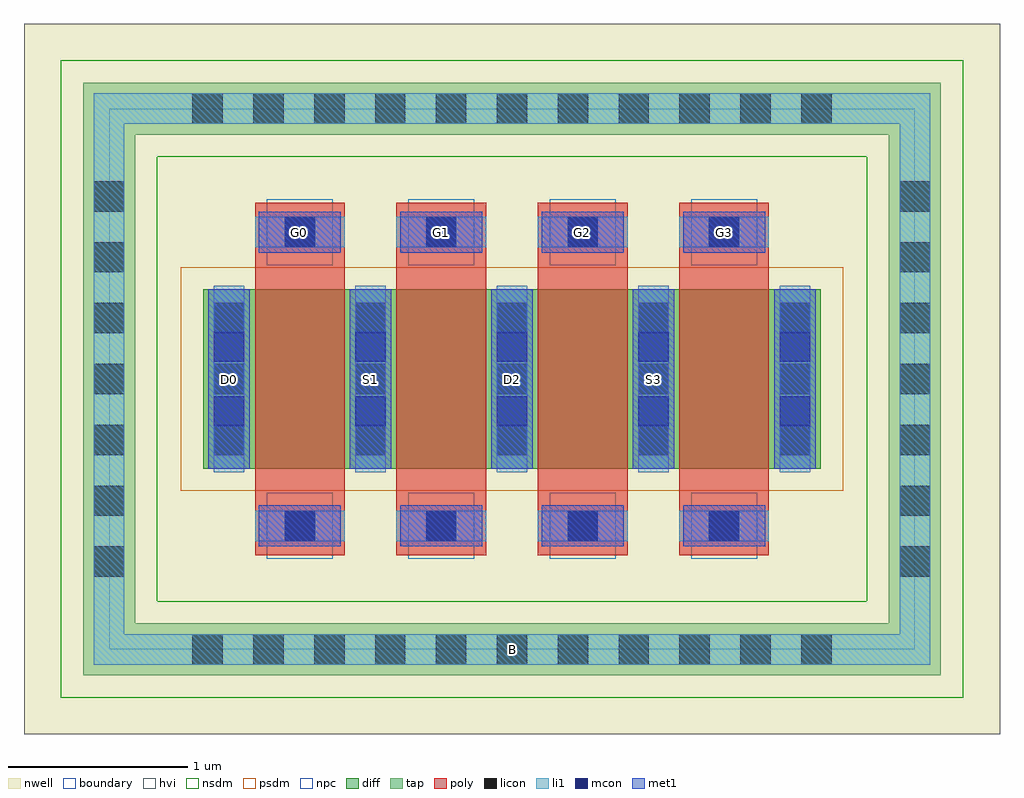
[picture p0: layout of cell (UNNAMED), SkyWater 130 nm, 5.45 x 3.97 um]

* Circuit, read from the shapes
.subckt (UNNAMED) B D0 D2 G0 G1 G2 G3 S1 S3
XM1 S1 G0 D0 B sky130_fd_pr__pfet_g5v0d10v5 w=1 l=0.5
XM2 D2 G1 S1 B sky130_fd_pr__pfet_g5v0d10v5 w=1 l=0.5
XM3 S3 G2 D2 B sky130_fd_pr__pfet_g5v0d10v5 w=1 l=0.5
XM4 n1 G3 S3 B sky130_fd_pr__pfet_g5v0d10v5 w=1 l=0.5
.ends

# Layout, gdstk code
import gdstk
lib = gdstk.Library(unit=1e-6, precision=1e-09)
def R(c, l, rs):  # rectangles x0, y0, x1, y1
    for r in rs: c.add(gdstk.rectangle(r[:2], r[2:], *l))
def A(c, l, x, y, w, h, nx, ny, dx, dy):  # array of equal rectangles
    R(c, l, [(x+i*dx, y+j*dy, x+i*dx+w, y+j*dy+h) for i in range(nx) for j in range(ny)])
nwell = (64, 20)
diff = (65, 20)
tap = (65, 44)
poly = (66, 20)
licon = (66, 44)
li1 = (67, 20)
mcon = (67, 44)
met1 = (68, 20)
hvi = (75, 20)
nsdm = (93, 44)
psdm = (94, 20)
npc = (95, 20)
boundary = (235, 4)

c__unnamed_ = lib.new_cell('(UNNAMED)')
R(c__unnamed_, nwell, [(-2.725,-1.985,2.725,1.985)])
R(c__unnamed_, diff, [(-1.725,-0.5,1.725,0.5)])
R(c__unnamed_, tap, [(-2.395,-1.655,2.395,-1.365), (-2.395,-1.365,-2.105,1.365), (2.105,-1.365,2.395,1.365), (-2.395,1.365,2.395,1.655)])
A(c__unnamed_, poly, -1.435, -0.985, 0.5, 1.97, 4, 1, 0.79, 0)
A(c__unnamed_, licon, -1.785, -1.595, 0.17, 0.17, 11, 2, 0.34, 3.02)
A(c__unnamed_, licon, -2.335, -1.105, 0.17, 0.17, 1, 7, 0, 0.34)
A(c__unnamed_, licon, 2.165, -1.105, 0.17, 0.17, 1, 7, 0, 0.34)
A(c__unnamed_, licon, -1.27, -0.905, 0.17, 0.17, 4, 2, 0.79, 1.64)
A(c__unnamed_, licon, -1.665, -0.425, 0.17, 0.17, 5, 3, 0.79, 0.34)
A(c__unnamed_, li1, -1.435, -0.905, 0.5, 0.17, 4, 2, 0.79, 1.64)
A(c__unnamed_, li1, -1.665, -0.52, 0.17, 1.04, 5, 1, 0.79, 0)
R(c__unnamed_, li1, [(-2.335,-1.595,2.335,-1.425), (-2.335,-1.425,-2.165,1.425), (2.165,-1.425,2.335,1.425), (-2.335,1.425,2.335,1.595)])
A(c__unnamed_, mcon, -1.27, -0.905, 0.17, 0.17, 4, 2, 0.79, 1.64)
A(c__unnamed_, mcon, -1.665, -0.265, 0.17, 0.17, 5, 2, 0.79, 0.36)
A(c__unnamed_, met1, -1.415, -0.935, 0.46, 0.23, 4, 2, 0.79, 1.64)
A(c__unnamed_, met1, -1.695, -0.5, 0.23, 1, 5, 1, 0.79, 0)
R(c__unnamed_, hvi, [(-2.725,-1.985,2.725,1.985)])
R(c__unnamed_, nsdm, [(-2.52,-1.78,2.52,-1.24), (-2.52,-1.24,-1.98,1.24), (1.98,-1.24,2.52,1.24), (-2.52,1.24,2.52,1.78)])
R(c__unnamed_, psdm, [(-1.85,-0.625,1.85,0.625)])
A(c__unnamed_, npc, -1.37, -1.005, 0.37, 0.37, 4, 2, 0.79, 1.64)
R(c__unnamed_, boundary, [(-2.25,-1.51,2.25,1.51)])
c__unnamed_.add(gdstk.Label('B', (0,-1.51), layer=67, texttype=5))
c__unnamed_.add(gdstk.Label('D0', (-1.58,0), layer=67, texttype=5))
c__unnamed_.add(gdstk.Label('G0', (-1.185,0.82), layer=67, texttype=5))
c__unnamed_.add(gdstk.Label('S1', (-0.79,0), layer=67, texttype=5))
c__unnamed_.add(gdstk.Label('G1', (-0.395,0.82), layer=67, texttype=5))
c__unnamed_.add(gdstk.Label('D2', (0,0), layer=67, texttype=5))
c__unnamed_.add(gdstk.Label('G2', (0.395,0.82), layer=67, texttype=5))
c__unnamed_.add(gdstk.Label('S3', (0.79,0), layer=67, texttype=5))
c__unnamed_.add(gdstk.Label('G3', (1.185,0.82), layer=67, texttype=5))

lib.write_gds('_UNNAMED_.gds')
